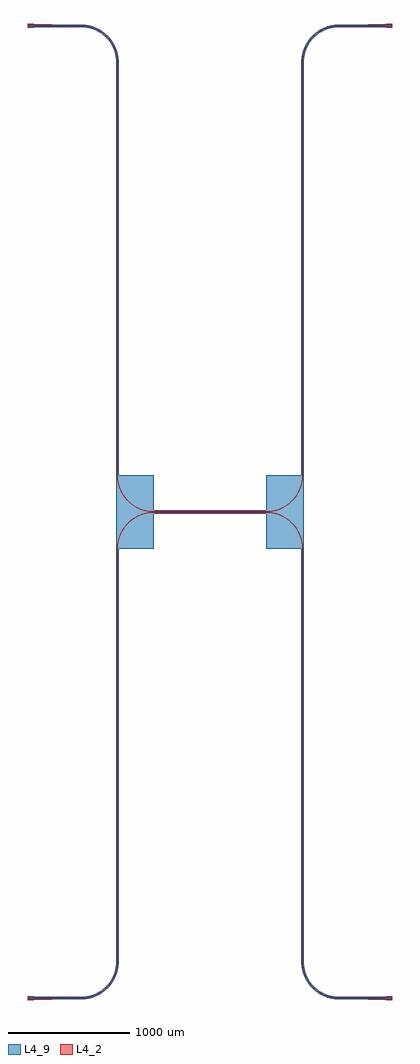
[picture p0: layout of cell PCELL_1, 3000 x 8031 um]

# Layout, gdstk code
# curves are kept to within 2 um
import gdstk
lib = gdstk.Library(unit=1e-6, precision=5e-09)
def R(c, l, rs):  # rectangles x0, y0, x1, y1
    for r in rs: c.add(gdstk.rectangle(r[:2], r[2:], *l))
def P(c, l, *ps):  # polygons
    for p in ps: c.add(gdstk.Polygon(p, *l))
L4_2 = (4, 2)
L4_9 = (4, 9)

transition_wire_wire_lin = lib.new_cell('TRANSITION_WIRE_WIRE_LINEAR_1')
P(transition_wire_wire_lin, L4_2, [(50,7.5),(50,-7.5),(350,-1.9),(350,1.9)])
P(transition_wire_wire_lin, L4_9, [(50,15.5),(50,7.5),(50,-7.5),(50,-15.5),(350,-9.9),(350,-1.9),(350,1.9),(350,9.9)])

c_transition_wire_wire_lin = lib.new_cell('TRANSITION_WIRE_WIRE_LINEAR_2')
P(c_transition_wire_wire_lin, L4_2, [(50,1.9),(50,-1.9),(350,-7.5),(350,7.5)])
P(c_transition_wire_wire_lin, L4_9, [(50,9.9),(50,1.9),(50,-1.9),(50,-9.9),(350,-15.5),(350,-7.5),(350,7.5),(350,15.5)])

dongbo = lib.new_cell('Dongbo')
R(dongbo, L4_2, [(0,-7.5,50,7.5)])
P(dongbo, L4_9, [(0,-15.5),(50,-15.5),(50,-7.5),(50,7.5),(50,15.5),(0,15.5),(0,7.5),(0,-7.5)])

my_dircoup_2_wg1a = lib.new_cell('my_dircoup_2_wg1a')
P(my_dircoup_2_wg1a, L4_2, [(-759.6,-304.65),(-758.875,-281.855),(-756.7,-261.165),(-751.96,-235.59),(-746.575,-215.495),(-737.895,-190.98),(-729.43,-171.97),(-719.66,-153.6),(-708.635,-135.955),(-696.405,-119.12),(-683.03,-103.18),(-668.58,-88.215),(-649.1,-70.985),(-632.485,-58.46),(-615.035,-47.13),(-596.835,-37.04),(-573.17,-26.255),(-553.62,-19.14),(-528.56,-12.19),(-502.985,-7.45),(-477.1,-4.96),(-461.49,-4.55),(0,-4.55),(0,-0.75),(-472.035,-0.935),(-498.29,-3),(-524.27,-7.345),(-549.765,-13.94),(-574.595,-22.735),(-598.56,-33.655),(-616.99,-43.87),(-634.665,-55.35),(-655.56,-71.38),(-674.975,-89.175),(-689.345,-104.585),(-702.61,-120.96),(-714.695,-138.225),(-725.55,-156.285),(-737.3,-179.855),(-745.195,-199.395),(-753.115,-224.515),(-758.815,-250.225),(-762.25,-276.34),(-763.4,-304.65)])
R(my_dircoup_2_wg1a, L4_9, [(-771.4,-302.65,-461.5,7.25)])
P(my_dircoup_2_wg1a, L4_9, [(-751.6,-304.65),(-748.775,-262.275),(-740.36,-222.69),(-726.52,-184.655),(-704.8,-144.65),(-677.085,-108.535),(-647.97,-80.42),(-615.23,-56.63),(-574.85,-35.61),(-526.76,-19.985),(-471.625,-12.725),(0,-12.55),(0,7.25),(-472.315,7.06),(-531.21,-0.69),(-582.59,-17.385),(-625.72,-39.84),(-664.815,-68.765),(-702.34,-107.625),(-729.88,-147.7),(-754.515,-201.755),(-768.385,-259.52),(-771.4,-304.65)])

my_dircoup_2_wg2a = lib.new_cell('my_dircoup_2_wg2a')
P(my_dircoup_2_wg2a, L4_2, [(-763.4,304.65),(-762.68,281.82),(-760.525,261.09),(-755.83,235.47),(-750.495,215.325),(-743.78,195.595),(-733.505,171.66),(-723.815,153.205),(-712.88,135.465),(-700.75,118.52),(-687.475,102.455),(-673.125,87.34),(-653.78,69.9),(-633,54.19),(-615.45,42.95),(-592.49,30.645),(-573.41,22.26),(-548.825,13.655),(-523.59,7.205),(-497.89,2.95),(-471.92,0.93),(0,0.75),(0,4.55),(-461.49,4.55),(-476.93,4.95),(-497.43,6.725),(-522.805,10.92),(-547.725,17.295),(-572.005,25.79),(-590.84,34.07),(-613.51,46.22),(-630.84,57.32),(-647.36,69.585),(-663,82.965),(-681.185,101.15),(-694.565,116.79),(-706.83,133.31),(-717.93,150.64),(-730.08,173.31),(-738.36,192.145),(-745.325,211.51),(-750.94,231.31),(-756.01,256.525),(-758.89,282.085),(-759.6,304.65)])
R(my_dircoup_2_wg2a, L4_9, [(-771.4,-7.25,-461.5,302.65)])
P(my_dircoup_2_wg2a, L4_9, [(-771.4,304.65),(-768.45,259.99),(-758.155,213.01),(-742.99,173.03),(-719.545,131.035),(-693.465,97.15),(-658.875,63.73),(-619.53,36.07),(-576.375,14.83),(-525.235,-0.625),(-472.195,-7.065),(0,-7.25),(0,12.55),(-471.515,12.725),(-521.16,18.75),(-569.035,33.22),(-605.1,50.585),(-638.43,72.755),(-668.395,99.295),(-694.415,129.71),(-720.66,172.29),(-737.71,213.955),(-748.105,257.765),(-751.6,304.65)])

my_dircoup_2_wg1b = lib.new_cell('my_dircoup_2_wg1b')
P(my_dircoup_2_wg1b, L4_2, [(0,-4.55),(471.79,-4.73),(497.43,-6.725),(522.805,-10.92),(547.725,-17.295),(572.005,-25.79),(590.84,-34.07),(613.51,-46.22),(630.84,-57.32),(647.36,-69.585),(663,-82.965),(681.185,-101.15),(694.565,-116.79),(706.83,-133.31),(717.93,-150.64),(730.08,-173.31),(738.36,-192.145),(745.325,-211.51),(750.94,-231.31),(756.01,-256.525),(758.89,-282.085),(759.6,-304.65),(763.4,-304.65),(762.68,-281.82),(760.525,-261.09),(755.83,-235.47),(750.495,-215.325),(743.78,-195.595),(733.505,-171.66),(723.815,-153.205),(712.88,-135.465),(700.75,-118.52),(687.475,-102.455),(673.125,-87.34),(653.78,-69.9),(633,-54.19),(615.45,-42.95),(592.49,-30.645),(573.41,-22.26),(548.825,-13.655),(523.59,-7.205),(497.89,-2.95),(471.92,-0.93),(0,-0.75)])
R(my_dircoup_2_wg1b, L4_9, [(461.5,-302.65,771.4,7.25)])
P(my_dircoup_2_wg1b, L4_9, [(0,-12.55),(471.515,-12.725),(521.16,-18.75),(564.37,-31.4),(600.73,-48.145),(634.44,-69.735),(664.855,-95.755),(691.395,-125.72),(716.005,-163.42),(736.135,-209.205),(748.105,-257.765),(751.6,-304.65),(771.4,-304.65),(768.45,-259.99),(758.155,-213.01),(740.71,-168.19),(716.545,-126.605),(686.23,-89.265),(650.51,-57.06),(614.905,-33.38),(571.39,-12.89),(514.73,2.645),(461.545,7.25),(0,7.25)])

my_dircoup_2_wg2b = lib.new_cell('my_dircoup_2_wg2b')
P(my_dircoup_2_wg2b, L4_2, [(0,0.75),(471.92,0.93),(497.89,2.95),(523.59,7.205),(548.825,13.655),(573.41,22.26),(592.49,30.645),(615.45,42.95),(633,54.19),(653.78,69.9),(673.125,87.34),(687.475,102.455),(700.75,118.52),(712.88,135.465),(723.815,153.205),(733.505,171.66),(743.78,195.595),(750.495,215.325),(755.83,235.47),(760.525,261.09),(762.68,281.82),(763.4,304.65),(759.6,304.65),(758.89,282.085),(756.01,256.525),(750.94,231.31),(745.325,211.51),(738.36,192.145),(730.08,173.31),(717.93,150.64),(706.83,133.31),(694.565,116.79),(681.185,101.15),(663,82.965),(647.36,69.585),(630.84,57.32),(613.51,46.22),(590.84,34.07),(572.005,25.79),(547.725,17.295),(522.805,10.92),(497.43,6.725),(476.93,4.95),(461.49,4.55),(0,4.55)])
R(my_dircoup_2_wg2b, L4_9, [(461.5,-7.25,771.4,302.65)])
P(my_dircoup_2_wg2b, L4_9, [(0,-7.25),(472.195,-7.065),(525.235,-0.625),(576.375,14.83),(619.53,36.07),(658.875,63.73),(693.465,97.15),(719.545,131.035),(742.99,173.03),(758.155,213.01),(768.45,259.99),(771.4,304.65),(751.6,304.65),(748.105,257.765),(737.71,213.955),(720.66,172.29),(694.415,129.71),(668.395,99.295),(638.43,72.755),(605.1,50.585),(569.035,33.22),(521.16,18.75),(471.515,12.725),(0,12.55)])

my_dircoup_2 = lib.new_cell('my_dircoup_2')
my_dircoup_2.add(gdstk.Reference(my_dircoup_2_wg1a, (0,0)))
my_dircoup_2.add(gdstk.Reference(my_dircoup_2_wg2a, (0,0)))
my_dircoup_2.add(gdstk.Reference(my_dircoup_2_wg1b, (0,0)))
my_dircoup_2.add(gdstk.Reference(my_dircoup_2_wg2b, (0,0)))

pcell_1_link1 = lib.new_cell('PCELL_1_link1')
P(pcell_1_link1, L4_2, [(2263.4,304.65),(2263.4,3699.99),(2263.8,3715.43),(2264.995,3730.82),(2266.99,3746.125),(2269.77,3761.305),(2274.695,3781.29),(2279.29,3796.025),(2284.64,3810.505),(2290.73,3824.685),(2297.545,3838.535),(2305.07,3852.01),(2313.28,3865.08),(2322.16,3877.705),(2331.68,3889.855),(2341.815,3901.5),(2352.54,3912.6),(2363.825,3923.13),(2375.64,3933.065),(2387.95,3942.37),(2400.73,3951.03),(2413.94,3959.015),(2427.545,3966.305),(2441.505,3972.885),(2455.79,3978.73),(2470.36,3983.825),(2495.165,3990.625),(2520.465,3995.26),(2546.07,3997.7),(2650,3998.1),(2650,4001.9),(2551.08,4001.72),(2525.11,3999.7),(2499.41,3995.445),(2474.175,3988.995),(2459.335,3984.085),(2444.765,3978.42),(2430.51,3972.005),(2416.605,3964.86),(2403.09,3957.005),(2390,3948.46),(2377.37,3939.25),(2365.235,3929.395),(2353.625,3918.93),(2342.57,3907.875),(2332.105,3896.265),(2322.25,3884.13),(2313.04,3871.5),(2301.8,3853.95),(2294.18,3840.3),(2287.275,3826.275),(2281.11,3811.91),(2275.69,3797.25),(2271.04,3782.325),(2267.17,3767.18),(2264.085,3751.855),(2261.22,3731.21),(2260.005,3715.625),(2259.6,3700.01),(2259.6,304.65)])
P(pcell_1_link1, L4_9, [(2271.4,304.65),(2272.955,3729.99),(2285.29,3788.695),(2309.435,3843.6),(2344.355,3892.37),(2388.56,3932.915),(2444.725,3965.56),(2501.84,3983.9),(2551.485,3989.925),(2650,3990.1),(2650,4009.9),(2545.46,4009.485),(2497.765,4003.275),(2436.755,3983.685),(2385.455,3955.045),(2333.12,3909.475),(2294.92,3858.03),(2266.44,3794.745),(2253.26,3732.04),(2251.6,304.65)])

pcell_1_link2 = lib.new_cell('PCELL_1_link2')
P(pcell_1_link2, L4_2, [(2259.6,-304.65),(2259.6,-3700.01),(2260.005,-3715.625),(2261.22,-3731.21),(2264.085,-3751.855),(2267.17,-3767.18),(2271.04,-3782.325),(2275.69,-3797.25),(2281.11,-3811.91),(2287.275,-3826.275),(2294.18,-3840.3),(2301.8,-3853.95),(2313.04,-3871.5),(2322.25,-3884.13),(2332.105,-3896.265),(2342.57,-3907.875),(2353.625,-3918.93),(2365.235,-3929.395),(2377.37,-3939.25),(2390,-3948.46),(2403.09,-3957.005),(2416.605,-3964.86),(2430.51,-3972.005),(2444.765,-3978.42),(2459.335,-3984.085),(2474.175,-3988.995),(2499.41,-3995.445),(2525.11,-3999.7),(2551.08,-4001.72),(2650,-4001.9),(2650,-3998.1),(2546.07,-3997.7),(2520.465,-3995.26),(2495.165,-3990.625),(2470.36,-3983.825),(2455.79,-3978.73),(2441.505,-3972.885),(2427.545,-3966.305),(2413.94,-3959.015),(2400.73,-3951.03),(2387.95,-3942.37),(2375.64,-3933.065),(2363.825,-3923.13),(2352.54,-3912.6),(2341.815,-3901.5),(2331.68,-3889.855),(2322.16,-3877.705),(2313.28,-3865.08),(2305.07,-3852.01),(2297.545,-3838.535),(2290.73,-3824.685),(2284.64,-3810.505),(2279.29,-3796.025),(2274.695,-3781.29),(2269.77,-3761.305),(2266.99,-3746.125),(2264.995,-3730.82),(2263.8,-3715.43),(2263.4,-3699.99),(2263.4,-304.65)])
P(pcell_1_link2, L4_9, [(2251.6,-304.65),(2253.26,-3732.04),(2266.44,-3794.745),(2294.92,-3858.03),(2333.12,-3909.475),(2385.455,-3955.045),(2436.755,-3983.685),(2497.765,-4003.275),(2545.46,-4009.485),(2650,-4009.9),(2650,-3990.1),(2551.485,-3989.925),(2501.84,-3983.9),(2444.725,-3965.56),(2388.56,-3932.915),(2344.355,-3892.37),(2309.435,-3843.6),(2285.29,-3788.695),(2272.955,-3729.99),(2271.4,-304.65)])

pcell_1_link3 = lib.new_cell('PCELL_1_link3')
P(pcell_1_link3, L4_2, [(350,3998.1),(448.79,3997.92),(474.43,3995.925),(499.805,3991.73),(514.825,3988.165),(529.64,3983.825),(544.21,3978.73),(558.495,3972.885),(581.57,3961.525),(594.915,3953.77),(607.84,3945.33),(620.31,3936.235),(632.295,3926.51),(643.76,3916.175),(658.185,3901.5),(668.32,3889.855),(677.84,3877.705),(686.72,3865.08),(694.93,3852.01),(702.455,3838.535),(709.27,3824.685),(715.36,3810.505),(720.71,3796.025),(725.305,3781.29),(730.23,3761.305),(733.01,3746.125),(735.005,3730.82),(736.2,3715.43),(736.6,3699.99),(736.6,304.65),(740.4,304.65),(740.4,3700.01),(739.995,3715.625),(738.78,3731.21),(735.915,3751.855),(732.83,3767.18),(728.96,3782.325),(724.31,3797.25),(718.89,3811.91),(712.725,3826.275),(705.82,3840.3),(698.2,3853.95),(686.96,3871.5),(677.75,3884.13),(667.895,3896.265),(657.43,3907.875),(646.375,3918.93),(634.765,3929.395),(622.63,3939.25),(610,3948.46),(596.91,3957.005),(583.395,3964.86),(569.49,3972.005),(555.235,3978.42),(540.665,3984.085),(525.825,3988.995),(510.75,3993.125),(495.48,3996.475),(469.71,4000.28),(443.71,4001.855),(350,4001.9)])
P(pcell_1_link3, L4_9, [(350,3990.1),(448.515,3989.925),(498.16,3983.9),(555.275,3965.56),(603.295,3938.745),(648.875,3899.75),(688.05,3847.93),(714.71,3788.695),(727.045,3729.99),(728.6,304.65),(748.4,304.65),(746.74,3732.04),(731.88,3799.825),(702.315,3862.605),(659.515,3917.235),(605.635,3960.965),(543.375,3991.615),(475.855,4007.64),(350,4009.9)])

pcell_1_link4 = lib.new_cell('PCELL_1_link4')
P(pcell_1_link4, L4_2, [(350,-4001.9),(448.92,-4001.72),(474.89,-3999.7),(500.59,-3995.445),(525.825,-3988.995),(540.665,-3984.085),(555.235,-3978.42),(569.49,-3972.005),(583.395,-3964.86),(596.91,-3957.005),(610,-3948.46),(622.63,-3939.25),(634.765,-3929.395),(646.375,-3918.93),(657.43,-3907.875),(667.895,-3896.265),(677.75,-3884.13),(686.96,-3871.5),(698.2,-3853.95),(705.82,-3840.3),(712.725,-3826.275),(718.89,-3811.91),(724.31,-3797.25),(728.96,-3782.325),(732.83,-3767.18),(735.915,-3751.855),(738.78,-3731.21),(739.995,-3715.625),(740.4,-3700.01),(740.4,-304.65),(736.6,-304.65),(736.6,-3699.99),(736.2,-3715.43),(735.005,-3730.82),(733.01,-3746.125),(730.23,-3761.305),(725.305,-3781.29),(720.71,-3796.025),(715.36,-3810.505),(709.27,-3824.685),(702.455,-3838.535),(694.93,-3852.01),(686.72,-3865.08),(677.84,-3877.705),(668.32,-3889.855),(658.185,-3901.5),(647.46,-3912.6),(636.175,-3923.13),(624.36,-3933.065),(612.05,-3942.37),(599.27,-3951.03),(586.06,-3959.015),(572.455,-3966.305),(558.495,-3972.885),(544.21,-3978.73),(529.64,-3983.825),(504.835,-3990.625),(479.535,-3995.26),(453.93,-3997.7),(350,-3998.1)])
P(pcell_1_link4, L4_9, [(350,-4009.9),(454.54,-4009.485),(502.235,-4003.275),(563.245,-3983.685),(614.545,-3955.045),(666.88,-3909.475),(705.08,-3858.03),(733.56,-3794.745),(746.74,-3732.04),(748.4,-304.65),(728.6,-304.65),(727.045,-3729.99),(714.71,-3788.695),(690.565,-3843.6),(655.645,-3892.37),(611.44,-3932.915),(555.275,-3965.56),(498.16,-3983.9),(448.515,-3989.925),(350,-3990.1)])

pcell_1 = lib.new_cell('PCELL_1')
pcell_1.add(gdstk.Reference(transition_wire_wire_lin, (0,4000)))
pcell_1.add(gdstk.Reference(c_transition_wire_wire_lin, (2600,-4000)))
pcell_1.add(gdstk.Reference(dongbo, (2950,-4000)))
pcell_1.add(gdstk.Reference(c_transition_wire_wire_lin, (2600,4000)))
pcell_1.add(gdstk.Reference(dongbo, (2950,4000)))
pcell_1.add(gdstk.Reference(my_dircoup_2, (1500,0)))
pcell_1.add(gdstk.Reference(dongbo, (0,-4000)))
pcell_1.add(gdstk.Reference(dongbo, (0,4000)))
pcell_1.add(gdstk.Reference(transition_wire_wire_lin, (0,-4000)))
pcell_1.add(gdstk.Reference(pcell_1_link1, (0,0)))
pcell_1.add(gdstk.Reference(pcell_1_link2, (0,0)))
pcell_1.add(gdstk.Reference(pcell_1_link3, (0,0)))
pcell_1.add(gdstk.Reference(pcell_1_link4, (0,0)))

lib.write_gds('PCELL_1.gds')
